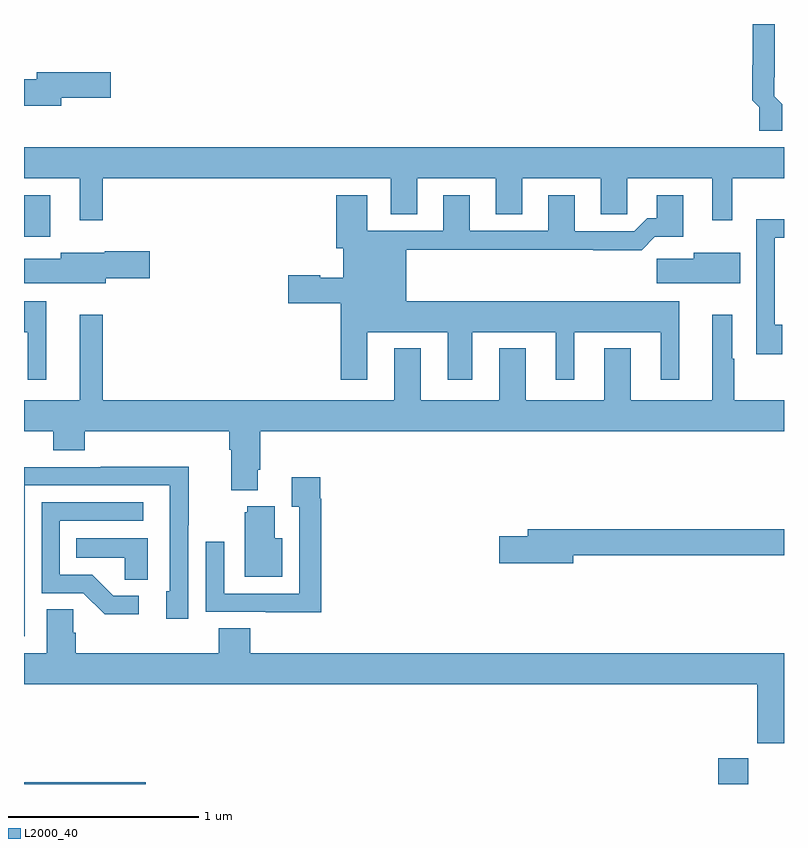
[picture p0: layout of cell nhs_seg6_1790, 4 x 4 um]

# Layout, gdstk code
import gdstk
lib = gdstk.Library(unit=1e-6, precision=1e-09)
def R(c, l, rs):  # rectangles x0, y0, x1, y1
    for r in rs: c.add(gdstk.rectangle(r[:2], r[2:], *l))
def P(c, l, *ps):  # polygons
    for p in ps: c.add(gdstk.Polygon(p, *l))
L2000_40 = (2000, 40)

nhs_seg6_1790 = lib.new_cell('nhs_seg6_1790')
R(nhs_seg6_1790, L2000_40, [(219,925.5,219.64,925.508), (222.653,925.5,222.813,925.636), (219,928.379,219.139,928.6)])
P(nhs_seg6_1790, L2000_40, [(222.991,929.078),(222.948,929.121),(222.948,929.221),(222.951,929.221),(222.951,929.5),(222.835,929.5),(222.835,929.282),(222.833,929.282),(222.833,929.1),(222.871,929.061),(222.871,928.938),(222.991,928.938)],
  [(219.196,929.111),(219.457,929.111),(219.457,929.246),(219.068,929.246),(219.068,929.21),(219,929.21),(219,929.069),(219.196,929.069)],
  [(219.415,928.688),(220.931,928.688),(220.931,928.498),(221.071,928.498),(221.071,928.688),(221.483,928.688),(221.483,928.498),(221.623,928.498),(221.623,928.688),(222.035,928.688),(222.035,928.498),(222.174,928.498),(222.174,928.688),(222.623,928.688),(222.623,928.467),(222.727,928.467),(222.727,928.688),(223,928.688),(223,928.852),(219,928.852),(219,928.688),(219.293,928.688),(219.293,928.467),(219.415,928.467)],
  [(220.807,927.878),(221.231,927.878),(221.231,927.627),(221.359,927.627),(221.359,927.878),(221.798,927.878),(221.798,927.627),(221.896,927.627),(221.896,927.878),(222.35,927.878),(222.35,927.627),(222.448,927.627),(222.448,928.042),(221.011,928.042),(221.011,928.312),(221.995,928.312),(221.995,928.31),(222.251,928.31),(222.32,928.379),(222.469,928.379),(222.469,928.6),(222.329,928.6),(222.329,928.477),(222.28,928.477),(222.213,928.41),(221.899,928.41),(221.899,928.6),(221.759,928.6),(221.759,928.413),(221.347,928.413),(221.347,928.6),(221.207,928.6),(221.207,928.413),(220.807,928.413),(220.807,928.6),(220.643,928.6),(220.643,928.32),(220.679,928.32),(220.679,928.165),(220.559,928.165),(220.559,928.178),(220.392,928.178),(220.392,928.031),(220.667,928.031),(220.667,927.627),(220.807,927.627)],
  [(222.991,927.918),(222.951,927.918),(222.951,928.374),(223,928.374),(223,928.472),(222.855,928.472),(222.855,927.762),(222.991,927.762)],
  [(219.43,928.163),(219.661,928.163),(219.661,928.305),(219.426,928.305),(219.426,928.297),(219.194,928.297),(219.194,928.265),(219,928.265),(219,928.136),(219.43,928.136)],
  [(222.769,928.297),(222.524,928.297),(222.524,928.265),(222.33,928.265),(222.33,928.136),(222.769,928.136)],
  [(219.118,928.042),(219,928.042),(219,927.878),(219.02,927.878),(219.02,927.627),(219.118,927.627)],
  [(220.231,927.154),(220.244,927.154),(220.244,927.356),(223,927.356),(223,927.52),(222.737,927.52),(222.737,927.737),(222.727,927.737),(222.727,927.97),(222.623,927.97),(222.623,927.52),(222.193,927.52),(222.193,927.793),(222.053,927.793),(222.053,927.52),(221.641,927.52),(221.641,927.793),(221.501,927.793),(221.501,927.52),(221.089,927.52),(221.089,927.793),(220.949,927.793),(220.949,927.52),(219.415,927.52),(219.415,927.97),(219.293,927.97),(219.293,927.52),(219,927.52),(219,927.356),(219.155,927.356),(219.155,927.257),(219.32,927.257),(219.32,927.356),(220.079,927.356),(220.079,927.26),(220.091,927.26),(220.091,927.047),(220.231,927.047)],
  [(219.003,927.072),(219.768,927.072),(219.768,926.514),(219.749,926.514),(219.749,926.37),(219.864,926.37),(219.864,926.863),(219.867,926.863),(219.867,927.17),(219.403,927.17),(219.403,927.168),(219,927.168),(219,926.277),(219.003,926.277)],
  [(220.565,927.002),(220.558,927.002),(220.558,927.115),(220.409,927.115),(220.409,926.959),(220.449,926.959),(220.449,926.502),(220.053,926.502),(220.053,926.776),(219.957,926.776),(219.957,926.406),(220.273,926.406),(220.273,926.405),(220.565,926.405)],
  [(219.604,926.49),(219.469,926.49),(219.358,926.601),(219.189,926.601),(219.189,926.886),(219.628,926.886),(219.628,926.982),(219.093,926.982),(219.093,926.505),(219.312,926.505),(219.425,926.393),(219.604,926.393)],
  [(220.36,926.794),(220.321,926.794),(220.321,926.962),(220.175,926.962),(220.175,926.931),(220.163,926.931),(220.163,926.591),(220.36,926.591)],
  [(221.89,926.704),(223,926.704),(223,926.84),(221.651,926.84),(221.651,926.804),(221.502,926.804),(221.502,926.662),(221.89,926.662)],
  [(219.652,926.794),(219.274,926.794),(219.274,926.69),(219.531,926.69),(219.531,926.575),(219.652,926.575)],
  [(223,926.188),(220.19,926.188),(220.19,926.321),(220.025,926.321),(220.025,926.188),(219.272,926.188),(219.272,926.297),(219.258,926.297),(219.258,926.42),(219.119,926.42),(219.119,926.188),(219,926.188),(219,926.024),(222.86,926.024),(222.86,925.715),(223,925.715)])

lib.write_gds('nhs_seg6_1790.gds')
